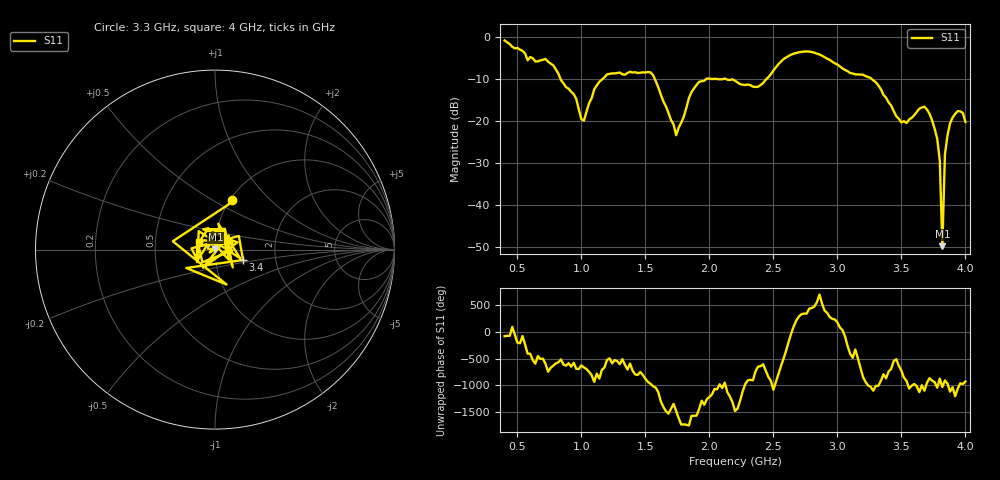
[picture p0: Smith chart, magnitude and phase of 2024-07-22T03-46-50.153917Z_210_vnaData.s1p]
!Created with skrf (http://scikit-rf.org).
# Hz S RI R 50.0
!freq ReS11 ImS11
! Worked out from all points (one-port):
!   181 points, 400 MHz to 4 GHz, reference 50 ohm
!   lowest |S11| = -49.9 dB at 3.82 GHz (marker M1), VSWR 1.01, Z = 50.2 + j0.247 ohm
!   |S11| at or under -10 dB: 837.1 MHz to 1.163 GHz (326.4 MHz wide, 32.6 % of centre); 1.574 GHz to 1.975 GHz (400.9 MHz wide, 22.6 % of centre); 3.27 GHz to end of sweep (the widest 3 of 5)
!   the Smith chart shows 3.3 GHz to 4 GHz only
!   S11 on the Smith chart (normalised r, x): 3.3 GHz: 1.02, +0.61; 3.4 GHz: 1.36, -0.16; 4 GHz: 0.84, +0.07
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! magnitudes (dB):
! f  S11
! 400 MHz  -0.8
! 580 MHz  -5.5
! 720 MHz  -5.2
! 860 MHz  -11.0
! 1.02 GHz  -19.9
! 1.14 GHz  -10.6
! 1.3 GHz  -8.4
! 1.54 GHz  -8.4
! 1.74 GHz  -23.4
! 1.76 GHz  -21.6
! 1.92 GHz  -10.6
! 2.2 GHz  -10.4
! 2.38 GHz  -11.8
! 2.66 GHz  -3.9
! 2.84 GHz  -3.9
! 3.1 GHz  -8.5
! 3.3 GHz  -10.8
! 3.4 GHz  -15.5
! 3.5 GHz  -20.3
! 3.56 GHz  -19.6
! 3.68 GHz  -16.6
! 3.76 GHz  -21.9
! 3.8 GHz  -29.5
! 3.82 GHz  -49.9
! 3.84 GHz  -28.0
! 3.86 GHz  -23.5
! 3.94 GHz  -17.6
! 4 GHz  -20.2
